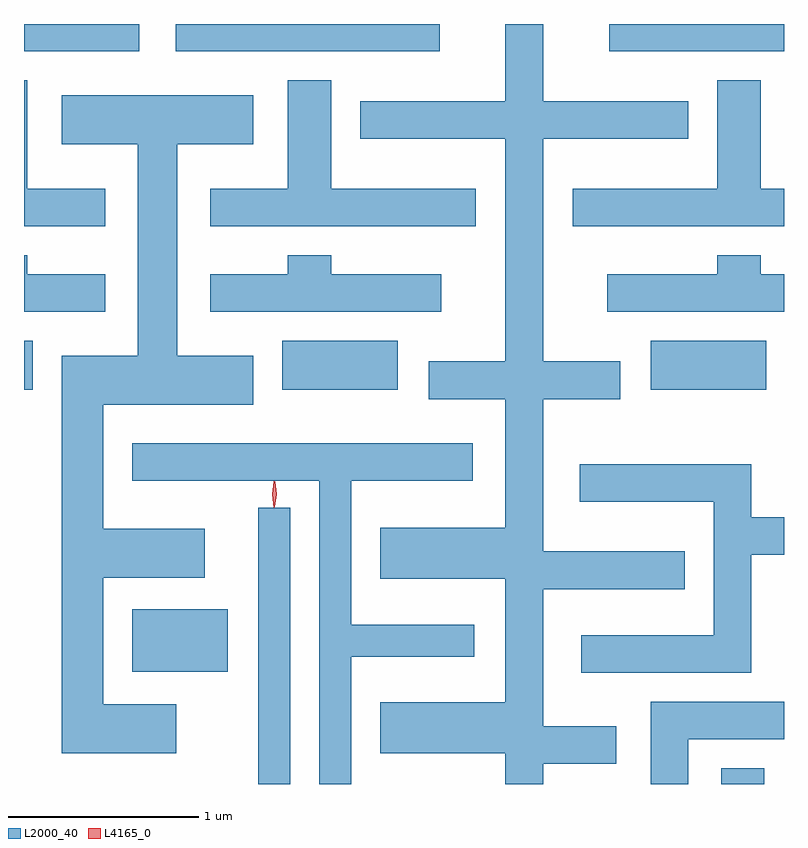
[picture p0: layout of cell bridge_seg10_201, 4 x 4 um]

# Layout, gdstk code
import gdstk
lib = gdstk.Library(unit=1e-6, precision=1e-09)
def R(c, l, rs):  # rectangles x0, y0, x1, y1
    for r in rs: c.add(gdstk.rectangle(r[:2], r[2:], *l))
def P(c, l, *ps):  # polygons
    for p in ps: c.add(gdstk.Polygon(p, *l))
L2000_40 = (2000, 40)
L4165_0 = (4165, 0)

bridge_seg10_201 = lib.new_cell('bridge_seg10_201')
R(bridge_seg10_201, L2000_40, [(1802.511,2140.72,1802.679,2142.173), (1804.946,2140.72,1805.174,2140.804), (1801.846,2141.311,1802.349,2141.639), (1801.277,2142.796,1801.324,2143.054), (1802.636,2142.796,1803.244,2143.054), (1804.576,2142.796,1805.184,2143.054), (1801.277,2144.576,1801.884,2144.72), (1802.076,2144.576,1803.464,2144.72), (1804.356,2144.576,1805.277,2144.72)])
P(bridge_seg10_201, L2000_40, [(1803.151,2142.069),(1803.151,2141.801),(1803.811,2141.801),(1803.811,2141.149),(1803.151,2141.149),(1803.151,2140.881),(1803.811,2140.881),(1803.811,2140.72),(1804.009,2140.72),(1804.009,2140.826),(1804.394,2140.826),(1804.394,2141.024),(1804.009,2141.024),(1804.009,2141.746),(1804.754,2141.746),(1804.754,2141.944),(1804.009,2141.944),(1804.009,2142.746),(1804.414,2142.746),(1804.414,2142.944),(1804.009,2142.944),(1804.009,2144.116),(1804.774,2144.116),(1804.774,2144.314),(1804.009,2144.314),(1804.009,2144.72),(1803.811,2144.72),(1803.811,2144.314),(1803.046,2144.314),(1803.046,2144.116),(1803.811,2144.116),(1803.811,2142.944),(1803.406,2142.944),(1803.406,2142.746),(1803.811,2142.746),(1803.811,2142.069)],
  [(1801.704,2143.854),(1801.294,2143.854),(1801.294,2144.424),(1801.277,2144.424),(1801.277,2143.656),(1801.704,2143.656)],
  [(1805.277,2143.854),(1805.154,2143.854),(1805.154,2144.424),(1804.926,2144.424),(1804.926,2143.854),(1804.166,2143.854),(1804.166,2143.656),(1805.277,2143.656)],
  [(1803.654,2143.854),(1802.894,2143.854),(1802.894,2144.424),(1802.666,2144.424),(1802.666,2143.854),(1802.256,2143.854),(1802.256,2143.656),(1803.654,2143.656)],
  [(1802.079,2141.139),(1801.694,2141.139),(1801.694,2141.806),(1802.229,2141.806),(1802.229,2142.064),(1801.694,2142.064),(1801.694,2142.716),(1802.484,2142.716),(1802.484,2142.974),(1802.084,2142.974),(1802.084,2144.086),(1802.484,2144.086),(1802.484,2144.344),(1801.476,2144.344),(1801.476,2144.086),(1801.876,2144.086),(1801.876,2142.974),(1801.476,2142.974),(1801.476,2140.881),(1802.079,2140.881)],
  [(1803.474,2143.404),(1802.894,2143.404),(1802.894,2143.504),(1802.666,2143.504),(1802.666,2143.404),(1802.256,2143.404),(1802.256,2143.206),(1803.474,2143.206)],
  [(1805.277,2143.404),(1805.154,2143.404),(1805.154,2143.504),(1804.926,2143.504),(1804.926,2143.404),(1804.346,2143.404),(1804.346,2143.206),(1805.277,2143.206)],
  [(1801.704,2143.404),(1801.294,2143.404),(1801.294,2143.504),(1801.277,2143.504),(1801.277,2143.206),(1801.704,2143.206)],
  [(1802.999,2141.391),(1803.648,2141.391),(1803.648,2141.559),(1802.999,2141.559),(1802.999,2142.316),(1803.639,2142.316),(1803.639,2142.514),(1801.846,2142.514),(1801.846,2142.316),(1802.831,2142.316),(1802.831,2140.72),(1802.999,2140.72)],
  [(1805.104,2141.926),(1805.277,2141.926),(1805.277,2142.124),(1805.104,2142.124),(1805.104,2142.404),(1804.201,2142.404),(1804.201,2142.206),(1804.906,2142.206),(1804.906,2141.504),(1804.211,2141.504),(1804.211,2141.306),(1805.104,2141.306)],
  [(1804.774,2140.956),(1805.277,2140.956),(1805.277,2141.154),(1804.576,2141.154),(1804.576,2140.72),(1804.774,2140.72)])
P(bridge_seg10_201, L4165_0, [(1802.597,2142.178),(1802.588,2142.244),(1802.598,2142.31),(1802.598,2142.311),(1802.599,2142.31),(1802.608,2142.244),(1802.598,2142.178),(1802.598,2142.178)],
  [(1802.593,2142.174),(1802.592,2142.175),(1802.583,2142.244),(1802.592,2142.313),(1802.593,2142.314),(1802.593,2142.313),(1802.603,2142.244),(1802.593,2142.175)])

lib.write_gds('bridge_seg10_201.gds')
